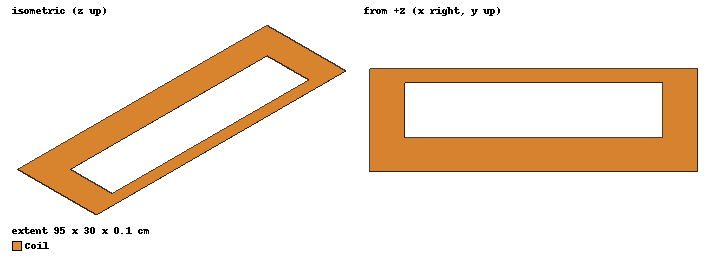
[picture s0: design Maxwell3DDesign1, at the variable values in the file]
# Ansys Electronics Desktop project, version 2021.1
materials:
  vacuum: permittivity=1
  copper: permeability=0.999991 conductivity=58000000

design Maxwell3DDesign1 (Maxwell 3D, Magnetostatic, model units cm)
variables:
  Length = 95cm
  Width = 30cm
  Height = 0.1cm
  Thickness = 100mm
  SmallThickness = 40mm
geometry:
  Coil [copper] = box(corner=(0cm, 0cm, 0cm), size=(Length, Width, Height))
  Coil1 = box(corner=(Thickness, Thickness, 0cm), size=(Length - (2*Thickness), Width - (Thickness + SmallThickness), Height))
  Coil.subtract(Coil1)
  Coil.move(-(Length/2), 0cm, 0cm)
  Coil_Section1 [copper] = Coil.section(plane=YZ)
  Coil_Section1_Separate1 [copper] = Coil_Section1.separate_bodies()
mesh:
  initial mesh: GlobalCurvilinear{Apply}
